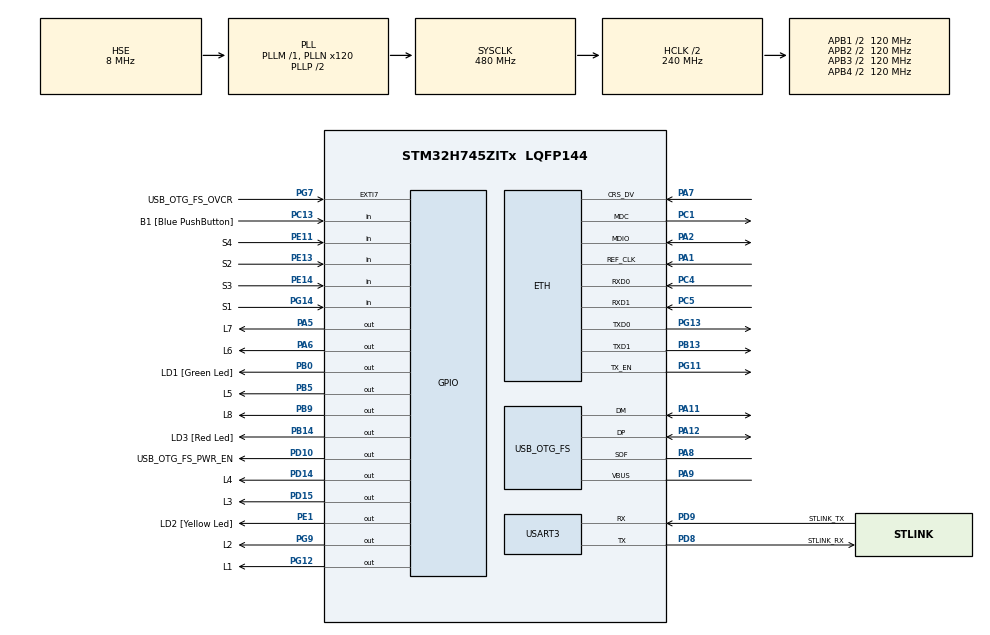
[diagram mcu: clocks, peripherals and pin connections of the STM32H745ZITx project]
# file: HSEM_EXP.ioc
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CortexM4.IPs=FATFS_M4\:I,FREERTOS_M4\:I,IWDG2\:I,RCC,WWDG2\:I,DMA,BDMA,MDMA,NVIC2\:I,USART3,ETH,DEBUG,USB_DEVICE_M4\:I,USB_HOST_M4\:I,PDM2PCM_M4\:I,PWR,RESMGR_UTILITY,SYS_M4\:I,CORTEX_M4\:I,OPENAMP_M4\:I,VREFBUF
CortexM4.Pins=PC13,PE11,PE13,PE14,PG14
CortexM7.IPs=FATFS_M7\:I,FREERTOS_M7\:I,IWDG1\:I,RCC\:I,WWDG1\:I,DMA\:I,BDMA\:I,MDMA\:I,NVIC1\:I,SYS\:I,USART3\:I,USB_OTG_FS\:I,ETH\:I,CORTEX_M7\:I,DEBUG\:I,USB_DEVICE_M7\:I,USB_HOST_M7\:I,PDM2PCM_M7\:I,PWR\:I,RESMGR_UTILITY\:I,OPENAMP_M7\:I,VREFBUF\:I
CortexM7.Pins=PA5,PA6,PB0,PB14,PD14,PD15,PG9,PG12,PB5,PB9,PE1
ETH.MediaInterface=HAL_ETH_RMII_MODE
Mcu.Family=STM32H7
Mcu.Name=STM32H745ZITx
Mcu.Package=LQFP144
NVIC1.PriorityGroup=NVIC_PRIORITYGROUP_4
NVIC2.PriorityGroup=NVIC_PRIORITYGROUP_4
PA1.Mode=RMII
PA1.PinAttribute=CortexM7
PA1.Signal=ETH_REF_CLK
PA11.Mode=Device_Only
PA11.PinAttribute=CortexM7
PA11.Signal=USB_OTG_FS_DM
PA12.Mode=Device_Only
PA12.PinAttribute=CortexM7
PA12.Signal=USB_OTG_FS_DP
PA2.Mode=RMII
PA2.PinAttribute=CortexM7
PA2.Signal=ETH_MDIO
PA5.GPIO_Label=L7
PA5.PinAttribute=CortexM7
PA5.Signal=GPIO_Output
PA6.GPIO_Label=L6
PA6.PinAttribute=CortexM7
PA6.Signal=GPIO_Output
PA7.Mode=RMII
PA7.PinAttribute=CortexM7
PA7.Signal=ETH_CRS_DV
PA8.Mode=Activate_SOF_FS
PA8.PinAttribute=CortexM7
PA8.Signal=USB_OTG_FS_SOF
PA9.Mode=Activate_VBUS
PA9.PinAttribute=CortexM7
PA9.Signal=USB_OTG_FS_VBUS
PB0.GPIO_Label=LD1 [Green Led]
PB0.PinAttribute=CortexM7
PB0.Signal=GPIO_Output
PB13.Mode=RMII
PB13.PinAttribute=CortexM7
PB13.Signal=ETH_TXD1
PB14.GPIO_Label=LD3 [Red Led]
PB14.PinAttribute=CortexM7
PB14.Signal=GPIO_Output
PB5.GPIO_Label=L5
PB5.PinAttribute=CortexM7
PB5.Signal=GPIO_Output
PB9.GPIO_Label=L8
PB9.PinAttribute=CortexM7
PB9.Signal=GPIO_Output
PC1.Mode=RMII
PC1.PinAttribute=CortexM7
PC1.Signal=ETH_MDC
PC13.GPIO_Label=B1 [Blue PushButton]
PC13.PinAttribute=CortexM4
PC13.Signal=GPIO_Input
PC14-OSC32_IN\ (OSC32_IN).Mode=LSE-External-Oscillator
PC14-OSC32_IN\ (OSC32_IN).PinAttribute=CortexM7
PC14-OSC32_IN\ (OSC32_IN).Signal=RCC_OSC32_IN
PC15-OSC32_OUT\ (OSC32_OUT).Mode=LSE-External-Oscillator
PC15-OSC32_OUT\ (OSC32_OUT).PinAttribute=CortexM7
PC15-OSC32_OUT\ (OSC32_OUT).Signal=RCC_OSC32_OUT
PC4.Mode=RMII
PC4.PinAttribute=CortexM7
PC4.Signal=ETH_RXD0
PC5.Mode=RMII
PC5.PinAttribute=CortexM7
PC5.Signal=ETH_RXD1
PD10.GPIO_Label=USB_OTG_FS_PWR_EN
PD10.PinAttribute=Free
PD10.Signal=GPIO_Output
PD14.GPIO_Label=L4
PD14.PinAttribute=CortexM7
PD14.Signal=GPIO_Output
PD15.GPIO_Label=L3
PD15.PinAttribute=CortexM7
PD15.Signal=GPIO_Output
PD8.GPIO_Label=STLINK_RX
PD8.Mode=Asynchronous
PD8.PinAttribute=CortexM7
PD8.Signal=USART3_TX
PD9.GPIO_Label=STLINK_TX
PD9.Mode=Asynchronous
PD9.PinAttribute=CortexM7
PD9.Signal=USART3_RX
PE1.GPIO_Label=LD2 [Yellow Led]
PE1.PinAttribute=CortexM7
PE1.Signal=GPIO_Output
PE11.GPIO_Label=S4
PE11.PinAttribute=CortexM4
PE11.Signal=GPIO_Input
PE13.GPIO_Label=S2
PE13.PinAttribute=CortexM4
PE13.Signal=GPIO_Input
PE14.GPIO_Label=S3
PE14.PinAttribute=CortexM4
PE14.Signal=GPIO_Input
PG11.Mode=RMII
PG11.PinAttribute=CortexM7
PG11.Signal=ETH_TX_EN
PG12.GPIO_Label=L1
PG12.PinAttribute=CortexM7
PG12.Signal=GPIO_Output
PG13.Mode=RMII
PG13.PinAttribute=CortexM7
PG13.Signal=ETH_TXD0
PG14.GPIO_Label=S1
PG14.PinAttribute=CortexM4
PG14.Signal=GPIO_Input
PG7.GPIO_Label=USB_OTG_FS_OVCR
PG7.PinAttribute=Free
PG7.Signal=GPXTI7
PG9.GPIO_Label=L2
PG9.PinAttribute=CortexM7
PG9.Signal=GPIO_Output
PH0-OSC_IN\ (PH0).Mode=HSE-External-Clock-Source
PH0-OSC_IN\ (PH0).PinAttribute=CortexM7
PH0-OSC_IN\ (PH0).Signal=RCC_OSC_IN
PH1-OSC_OUT\ (PH1).PinAttribute=CortexM7
PH1-OSC_OUT\ (PH1).Signal=RCC_OSC_OUT
ProjectManager.HeapSize=M4-0x200,M7-0x200
ProjectManager.StackSize=M4-0x400,M7-0x400
ProjectManager.TargetToolchain=STM32CubeIDE
RCC.ADCFreq_Value=16125000
RCC.APB1Freq_Value=120000000
RCC.APB2Freq_Value=120000000
RCC.APB3Freq_Value=120000000
RCC.APB4Freq_Value=120000000
RCC.CortexFreq_Value=480000000
RCC.D1PPRE=RCC_APB3_DIV2
RCC.D2PPRE1=RCC_APB1_DIV2
RCC.D2PPRE2=RCC_APB2_DIV2
RCC.D3PPRE=RCC_APB4_DIV2
RCC.DIVM1=1
RCC.DIVM3=1
RCC.DIVN1=120
RCC.DIVN3=24
RCC.DIVQ3=4
RCC.HCLKFreq_Value=240000000
RCC.HPRE=RCC_HCLK_DIV2
RCC.HSE_VALUE=8000000
RCC.PLL2FRACN=0
RCC.PLL3FRACN=0
RCC.PLLFRACN=0
RCC.SYSCLKFreq_VALUE=480000000
RCC.SYSCLKSource=RCC_SYSCLKSOURCE_PLLCLK
RCC.SupplySource=PWR_DIRECT_SMPS_SUPPLY
RCC.USBCLockSelection=RCC_USBCLKSOURCE_PLL3
RCC.USBFreq_Value=48000000
USART3.VirtualMode-Asynchronous=VM_ASYNC
USB_OTG_FS.VirtualMode=Device_Only
VP_SYS_M4_VS_Systick.Mode=SysTick
board=NUCLEO-H745ZI-Q

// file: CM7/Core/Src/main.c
/* USER CODE BEGIN Header */
/**
 ******************************************************************************
 * @file           : main.c
 * @brief          : Main program body
 ******************************************************************************
 * @attention
 *
 * <h2><center>&copy; Copyright (c) 2021 STMicroelectronics.
 * All rights reserved.</center></h2>
 *
 * This software component is licensed by ST under BSD 3-Clause license,
 * the "License"; You may not use this file except in compliance with the
 * License. You may obtain a copy of the License at:
 *                        opensource.org/licenses/BSD-3-Clause
 *
 ******************************************************************************
 */
/* USER CODE END Header */
#include "main.h"
#include "string.h"

/* USER CODE BEGIN PD */

#ifndef HSEM_ID_0
#define HSEM_ID_0 (0U) /* HW semaphore 0*/
#endif
/* USER CODE END PD */

#if defined ( __ICCARM__ ) /*!< IAR Compiler */

#pragma location=0x30040000
ETH_DMADescTypeDef  DMARxDscrTab[ETH_RX_DESC_CNT]; /* Ethernet Rx DMA Descriptors */
#pragma location=0x30040060
ETH_DMADescTypeDef  DMATxDscrTab[ETH_TX_DESC_CNT]; /* Ethernet Tx DMA Descriptors */
#pragma location=0x30040200
uint8_t Rx_Buff[ETH_RX_DESC_CNT][ETH_MAX_PACKET_SIZE]; /* Ethernet Receive Buffers */

#elif defined ( __CC_ARM )  /* MDK ARM Compiler */

__attribute__((at(0x30040000))) ETH_DMADescTypeDef  DMARxDscrTab[ETH_RX_DESC_CNT]; /* Ethernet Rx DMA Descriptors */
__attribute__((at(0x30040060))) ETH_DMADescTypeDef  DMATxDscrTab[ETH_TX_DESC_CNT]; /* Ethernet Tx DMA Descriptors */
__attribute__((at(0x30040200))) uint8_t Rx_Buff[ETH_RX_DESC_CNT][ETH_MAX_PACKET_SIZE]; /* Ethernet Receive Buffer */

#elif defined ( __GNUC__ ) /* GNU Compiler */

ETH_DMADescTypeDef DMARxDscrTab[ETH_RX_DESC_CNT] __attribute__((section(".RxDecripSection"))); /* Ethernet Rx DMA Descriptors */
ETH_DMADescTypeDef DMATxDscrTab[ETH_TX_DESC_CNT] __attribute__((section(".TxDecripSection")));   /* Ethernet Tx DMA Descriptors */
uint8_t Rx_Buff[ETH_RX_DESC_CNT][ETH_MAX_PACKET_SIZE] __attribute__((section(".RxArraySection"))); /* Ethernet Receive Buffers */

#endif

ETH_TxPacketConfig TxConfig;

ETH_HandleTypeDef heth;

UART_HandleTypeDef huart3;

PCD_HandleTypeDef hpcd_USB_OTG_FS;

void SystemClock_Config(void);
static void MX_GPIO_Init(void);
static void MX_ETH_Init(void);
static void MX_USART3_UART_Init(void);
static void MX_USB_OTG_FS_PCD_Init(void);

/* USER CODE BEGIN 0 */
typedef struct {//ประกาศตัวแปร structure ของ led
	uint8_t led1;
	uint8_t led2;
	uint8_t led3;
	uint8_t led4;
	uint8_t led5;
	uint8_t led6;
	uint8_t led7;
	uint8_t led8;

	float someVar;
	int someVar2;
} SharedType;

SharedType *sharedMemory = (SharedType*) (0x38000000);

/* USER CODE END 0 */

int main(void)
{
/* USER CODE BEGIN Boot_Mode_Sequence_0 */
	int32_t timeout;
/* USER CODE END Boot_Mode_Sequence_0 */

/* USER CODE BEGIN Boot_Mode_Sequence_1 */
	/* Wait until CPU2 boots and enters in stop mode or timeout*/
	timeout = 0xFFFF;
	while ((__HAL_RCC_GET_FLAG(RCC_FLAG_D2CKRDY) != RESET) && (timeout-- > 0))
		;
	if (timeout < 0) {
		Error_Handler();
	}
/* USER CODE END Boot_Mode_Sequence_1 */
  /* MCU Configuration--------------------------------------------------------*/

  /* Reset of all peripherals, Initializes the Flash interface and the Systick. */
  HAL_Init();

  /* Configure the system clock */
  SystemClock_Config();
/* USER CODE BEGIN Boot_Mode_Sequence_2 */
	/* When system initialization is finished, Cortex-M7 will release Cortex-M4 by means of
	 HSEM notification */
	/*HW semaphore Clock enable*/
	__HAL_RCC_HSEM_CLK_ENABLE();
	/*Take HSEM */
	HAL_HSEM_FastTake(HSEM_ID_0);
	/*Release HSEM in order to notify the CPU2(CM4)*/
	HAL_HSEM_Release(HSEM_ID_0, 0);
	/* wait until CPU2 wakes up from stop mode */
	timeout = 0xFFFF;
	while ((__HAL_RCC_GET_FLAG(RCC_FLAG_D2CKRDY) == RESET) && (timeout-- > 0))
		;
	if (timeout < 0) {
		Error_Handler();
	}
/* USER CODE END Boot_Mode_Sequence_2 */

  /* Initialize all configured peripherals */
  MX_GPIO_Init();
  MX_ETH_Init();
  MX_USART3_UART_Init();
  MX_USB_OTG_FS_PCD_Init();

  /* Infinite loop */
  /* USER CODE BEGIN WHILE */
	while (1) {
		if (HAL_HSEM_FastTake(1) == HAL_OK) { //Can lock HSEM1
			HAL_GPIO_WritePin(L1_GPIO_Port, L1_Pin, sharedMemory->led1);//write pin led1
			HAL_GPIO_WritePin(L2_GPIO_Port, L2_Pin, sharedMemory->led2);//write pin led2
			HAL_GPIO_WritePin(L3_GPIO_Port, L3_Pin, sharedMemory->led3);//write pin led3
			HAL_GPIO_WritePin(L4_GPIO_Port, L4_Pin, sharedMemory->led4);//write pin led4
			HAL_GPIO_WritePin(L5_GPIO_Port, L5_Pin, sharedMemory->led5);//write pin led5
			HAL_GPIO_WritePin(L6_GPIO_Port, L6_Pin, sharedMemory->led6);//write pin led6
			HAL_GPIO_WritePin(L7_GPIO_Port, L7_Pin, sharedMemory->led7);//write pin led7
			HAL_GPIO_WritePin(L8_GPIO_Port, L8_Pin, sharedMemory->led8);//write pin led8
			//unlock HSEM
			HAL_HSEM_Release(1, 0);
		}

    /* USER CODE END WHILE */

	}
}

void SystemClock_Config(void)
{
  RCC_OscInitTypeDef RCC_OscInitStruct = {0};
  RCC_ClkInitTypeDef RCC_ClkInitStruct = {0};

  /** Supply configuration update enable
  */
  HAL_PWREx_ConfigSupply(PWR_DIRECT_SMPS_SUPPLY);
  /** Configure the main internal regulator output voltage
  */
  __HAL_PWR_VOLTAGESCALING_CONFIG(PWR_REGULATOR_VOLTAGE_SCALE0);

  while(!__HAL_PWR_GET_FLAG(PWR_FLAG_VOSRDY)) {}
  /** Macro to configure the PLL clock source
  */
  __HAL_RCC_PLL_PLLSOURCE_CONFIG(RCC_PLLSOURCE_HSE);
  /** Initializes the RCC Oscillators according to the specified parameters
  * in the RCC_OscInitTypeDef structure.
  */
  RCC_OscInitStruct.OscillatorType = RCC_OSCILLATORTYPE_HSE;
  RCC_OscInitStruct.HSEState = RCC_HSE_BYPASS;
  RCC_OscInitStruct.PLL.PLLState = RCC_PLL_ON;
  RCC_OscInitStruct.PLL.PLLSource = RCC_PLLSOURCE_HSE;
  RCC_OscInitStruct.PLL.PLLM = 1;
  RCC_OscInitStruct.PLL.PLLN = 120;
  RCC_OscInitStruct.PLL.PLLP = 2;
  RCC_OscInitStruct.PLL.PLLQ = 2;
  RCC_OscInitStruct.PLL.PLLR = 2;
  RCC_OscInitStruct.PLL.PLLRGE = RCC_PLL1VCIRANGE_3;
  RCC_OscInitStruct.PLL.PLLVCOSEL = RCC_PLL1VCOWIDE;
  RCC_OscInitStruct.PLL.PLLFRACN = 0;
  if (HAL_RCC_OscConfig(&RCC_OscInitStruct) != HAL_OK)
  {
    Error_Handler();
  }
  /** Initializes the CPU, AHB and APB buses clocks
  */
  RCC_ClkInitStruct.ClockType = RCC_CLOCKTYPE_HCLK|RCC_CLOCKTYPE_SYSCLK
                              |RCC_CLOCKTYPE_PCLK1|RCC_CLOCKTYPE_PCLK2
                              |RCC_CLOCKTYPE_D3PCLK1|RCC_CLOCKTYPE_D1PCLK1;
  RCC_ClkInitStruct.SYSCLKSource = RCC_SYSCLKSOURCE_PLLCLK;
  RCC_ClkInitStruct.SYSCLKDivider = RCC_SYSCLK_DIV1;
  RCC_ClkInitStruct.AHBCLKDivider = RCC_HCLK_DIV2;
  RCC_ClkInitStruct.APB3CLKDivider = RCC_APB3_DIV2;
  RCC_ClkInitStruct.APB1CLKDivider = RCC_APB1_DIV2;
  RCC_ClkInitStruct.APB2CLKDivider = RCC_APB2_DIV2;
  RCC_ClkInitStruct.APB4CLKDivider = RCC_APB4_DIV2;

  if (HAL_RCC_ClockConfig(&RCC_ClkInitStruct, FLASH_LATENCY_4) != HAL_OK)
  {
    Error_Handler();
  }
}

static void MX_ETH_Init(void)
{

  heth.Instance = ETH;
  heth.Init.MACAddr[0] =   0x00;
  heth.Init.MACAddr[1] =   0x80;
  heth.Init.MACAddr[2] =   0xE1;
  heth.Init.MACAddr[3] =   0x00;
  heth.Init.MACAddr[4] =   0x00;
  heth.Init.MACAddr[5] =   0x00;
  heth.Init.MediaInterface = HAL_ETH_RMII_MODE;
  heth.Init.TxDesc = DMATxDscrTab;
  heth.Init.RxDesc = DMARxDscrTab;
  heth.Init.RxBuffLen = 1524;

  if (HAL_ETH_Init(&heth) != HAL_OK)
  {
    Error_Handler();
  }

  memset(&TxConfig, 0 , sizeof(ETH_TxPacketConfig));
  TxConfig.Attributes = ETH_TX_PACKETS_FEATURES_CSUM | ETH_TX_PACKETS_FEATURES_CRCPAD;
  TxConfig.ChecksumCtrl = ETH_CHECKSUM_IPHDR_PAYLOAD_INSERT_PHDR_CALC;
  TxConfig.CRCPadCtrl = ETH_CRC_PAD_INSERT;

}

static void MX_USART3_UART_Init(void)
{

  huart3.Instance = USART3;
  huart3.Init.BaudRate = 115200;
  huart3.Init.WordLength = UART_WORDLENGTH_8B;
  huart3.Init.StopBits = UART_STOPBITS_1;
  huart3.Init.Parity = UART_PARITY_NONE;
  huart3.Init.Mode = UART_MODE_TX_RX;
  huart3.Init.HwFlowCtl = UART_HWCONTROL_NONE;
  huart3.Init.OverSampling = UART_OVERSAMPLING_16;
  huart3.Init.OneBitSampling = UART_ONE_BIT_SAMPLE_DISABLE;
  huart3.Init.ClockPrescaler = UART_PRESCALER_DIV1;
  huart3.AdvancedInit.AdvFeatureInit = UART_ADVFEATURE_NO_INIT;
  if (HAL_UART_Init(&huart3) != HAL_OK)
  {
    Error_Handler();
  }
  if (HAL_UARTEx_SetTxFifoThreshold(&huart3, UART_TXFIFO_THRESHOLD_1_8) != HAL_OK)
  {
    Error_Handler();
  }
  if (HAL_UARTEx_SetRxFifoThreshold(&huart3, UART_RXFIFO_THRESHOLD_1_8) != HAL_OK)
  {
    Error_Handler();
  }
  if (HAL_UARTEx_DisableFifoMode(&huart3) != HAL_OK)
  {
    Error_Handler();
  }

}

static void MX_USB_OTG_FS_PCD_Init(void)
{

  hpcd_USB_OTG_FS.Instance = USB_OTG_FS;
  hpcd_USB_OTG_FS.Init.dev_endpoints = 9;
  hpcd_USB_OTG_FS.Init.speed = PCD_SPEED_FULL;
  hpcd_USB_OTG_FS.Init.dma_enable = DISABLE;
  hpcd_USB_OTG_FS.Init.phy_itface = PCD_PHY_EMBEDDED;
  hpcd_USB_OTG_FS.Init.Sof_enable = DISABLE;
  hpcd_USB_OTG_FS.Init.low_power_enable = DISABLE;
  hpcd_USB_OTG_FS.Init.lpm_enable = DISABLE;
  hpcd_USB_OTG_FS.Init.battery_charging_enable = ENABLE;
  hpcd_USB_OTG_FS.Init.vbus_sensing_enable = ENABLE;
  hpcd_USB_OTG_FS.Init.use_dedicated_ep1 = DISABLE;
  if (HAL_PCD_Init(&hpcd_USB_OTG_FS) != HAL_OK)
  {
    Error_Handler();
  }

}

static void MX_GPIO_Init(void)
{
  GPIO_InitTypeDef GPIO_InitStruct = {0};

  /* GPIO Ports Clock Enable */
  __HAL_RCC_GPIOC_CLK_ENABLE();
  __HAL_RCC_GPIOH_CLK_ENABLE();
  __HAL_RCC_GPIOA_CLK_ENABLE();
  __HAL_RCC_GPIOB_CLK_ENABLE();
  __HAL_RCC_GPIOD_CLK_ENABLE();
  __HAL_RCC_GPIOG_CLK_ENABLE();
  __HAL_RCC_GPIOE_CLK_ENABLE();

  /*Configure GPIO pin Output Level */
  HAL_GPIO_WritePin(GPIOA, L7_Pin|L6_Pin, GPIO_PIN_RESET);

  /*Configure GPIO pin Output Level */
  HAL_GPIO_WritePin(GPIOB, LD1_Pin|LD3_Pin|L5_Pin|L8_Pin, GPIO_PIN_RESET);

  /*Configure GPIO pin Output Level */
  HAL_GPIO_WritePin(GPIOD, L4_Pin|L3_Pin, GPIO_PIN_RESET);

  /*Configure GPIO pin Output Level */
  HAL_GPIO_WritePin(GPIOG, L2_Pin|L1_Pin, GPIO_PIN_RESET);

  /*Configure GPIO pin Output Level */
  HAL_GPIO_WritePin(LD2_GPIO_Port, LD2_Pin, GPIO_PIN_RESET);

  /*Configure GPIO pins : L7_Pin L6_Pin */
  GPIO_InitStruct.Pin = L7_Pin|L6_Pin;
  GPIO_InitStruct.Mode = GPIO_MODE_OUTPUT_PP;
  GPIO_InitStruct.Pull = GPIO_NOPULL;
  GPIO_InitStruct.Speed = GPIO_SPEED_FREQ_LOW;
  HAL_GPIO_Init(GPIOA, &GPIO_InitStruct);

  /*Configure GPIO pins : LD1_Pin LD3_Pin L5_Pin L8_Pin */
  GPIO_InitStruct.Pin = LD1_Pin|LD3_Pin|L5_Pin|L8_Pin;
  GPIO_InitStruct.Mode = GPIO_MODE_OUTPUT_PP;
  GPIO_InitStruct.Pull = GPIO_NOPULL;
  GPIO_InitStruct.Speed = GPIO_SPEED_FREQ_LOW;
  HAL_GPIO_Init(GPIOB, &GPIO_InitStruct);

  /*Configure GPIO pins : L4_Pin L3_Pin */
  GPIO_InitStruct.Pin = L4_Pin|L3_Pin;
  GPIO_InitStruct.Mode = GPIO_MODE_OUTPUT_PP;
  GPIO_InitStruct.Pull = GPIO_NOPULL;
  GPIO_InitStruct.Speed = GPIO_SPEED_FREQ_LOW;
  HAL_GPIO_Init(GPIOD, &GPIO_InitStruct);

  /*Configure GPIO pins : L2_Pin L1_Pin */
  GPIO_InitStruct.Pin = L2_Pin|L1_Pin;
  GPIO_InitStruct.Mode = GPIO_MODE_OUTPUT_PP;
  GPIO_InitStruct.Pull = GPIO_NOPULL;
  GPIO_InitStruct.Speed = GPIO_SPEED_FREQ_LOW;
  HAL_GPIO_Init(GPIOG, &GPIO_InitStruct);

  /*Configure GPIO pin : LD2_Pin */
  GPIO_InitStruct.Pin = LD2_Pin;
  GPIO_InitStruct.Mode = GPIO_MODE_OUTPUT_PP;
  GPIO_InitStruct.Pull = GPIO_NOPULL;
  GPIO_InitStruct.Speed = GPIO_SPEED_FREQ_LOW;
  HAL_GPIO_Init(LD2_GPIO_Port, &GPIO_InitStruct);

}

void Error_Handler(void)
{
	__disable_irq();
	while (1) {
	}
}

/************************ (C) COPYRIGHT STMicroelectronics *****END OF FILE****/
